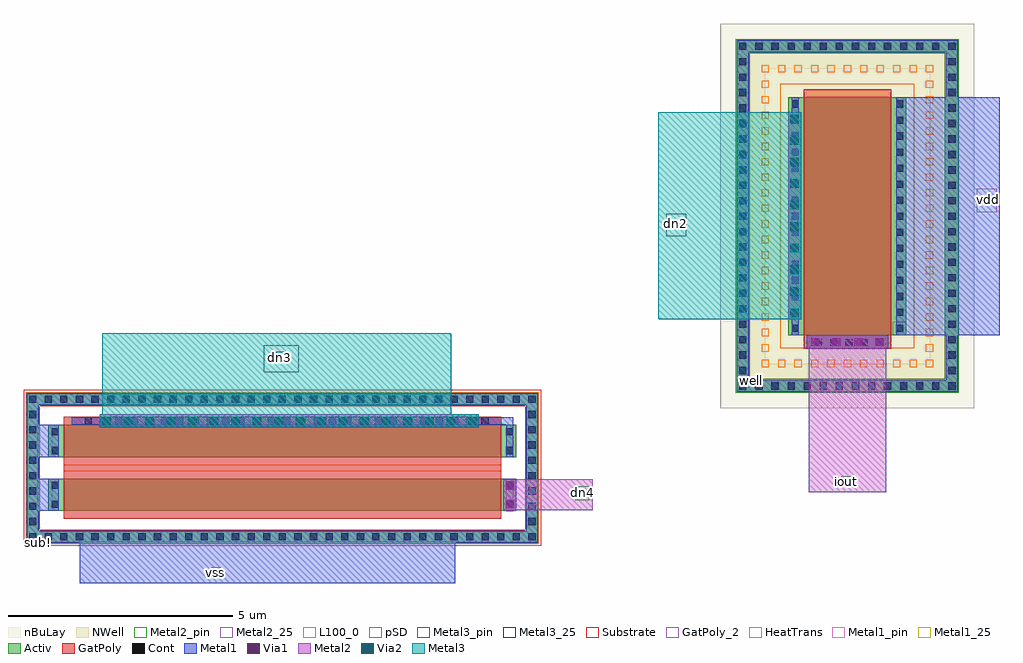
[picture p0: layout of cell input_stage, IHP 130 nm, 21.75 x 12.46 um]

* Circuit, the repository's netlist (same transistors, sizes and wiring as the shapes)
* Extracted by KLayout with SG13G2 LVS runset on : 27/03/2025 16:03

.SUBCKT input_stage vss dn4 dn3 vdd dn2 iout
M$1 vss dn3 dn4 \$1 sg13_lv_nmos L=9.75u W=0.72u AS=0.2448p AD=0.2448p PS=2.12u
+ PD=2.12u
M$2 vss dn3 dn3 \$1 sg13_lv_nmos L=9.75u W=0.72u AS=0.2448p AD=0.2448p PS=2.12u
+ PD=2.12u
M$3 dn2 iout vdd \$8 sg13_lv_pmos L=1.95u W=5.3u AS=1.802p AD=1.802p PS=11.28u
+ PD=11.28u
R$4 \$8 vdd ntap1 A=7.5826p P=48.92u
R$5 \$1 vss ptap1 A=7.0975p P=56.78u
.ENDS input_stage

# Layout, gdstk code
import gdstk
lib = gdstk.Library(unit=1e-6, precision=1e-09)
def R(c, l, rs):  # rectangles x0, y0, x1, y1
    for r in rs: c.add(gdstk.rectangle(r[:2], r[2:], *l))
def A(c, l, x, y, w, h, nx, ny, dx, dy):  # array of equal rectangles
    R(c, l, [(x+i*dx, y+j*dy, x+i*dx+w, y+j*dy+h) for i in range(nx) for j in range(ny)])
def P(c, l, *ps):  # polygons
    for p in ps: c.add(gdstk.Polygon(p, *l))
Activ = (1, 0)
GatPoly = (5, 0)
GatPoly_2 = (5, 2)
Cont = (6, 0)
Metal1 = (8, 0)
Metal1_pin = (8, 2)
Metal1_25 = (8, 25)
Metal2 = (10, 0)
Metal2_pin = (10, 2)
Metal2_25 = (10, 25)
pSD = (14, 0)
Via1 = (19, 0)
Via2 = (29, 0)
Metal3 = (30, 0)
Metal3_pin = (30, 2)
Metal3_25 = (30, 25)
NWell = (31, 0)
nBuLay = (32, 0)
Substrate = (40, 0)
HeatTrans = (51, 0)
L100_0 = (100, 0)

nmos_1 = lib.new_cell('nmos$1')

via_stack_1 = lib.new_cell('via_stack$1')
R(via_stack_1, Metal1, [(-4.225,-0.145,4.225,0.145)])
R(via_stack_1, Metal2, [(-4.225,-0.145,4.225,0.145)])
A(via_stack_1, Via1, -4.175, -0.095, 0.19, 0.19, 18, 1, 0.48, 0)
A(via_stack_1, Via2, -4.175, -0.095, 0.19, 0.19, 18, 1, 0.48, 0)
R(via_stack_1, Metal3, [(-4.225,-0.145,4.225,0.145)])

nmos = lib.new_cell('nmos')
R(nmos, Activ, [(0,0,0.3,0.3), (0,0,10.43,0.72), (10.13,0,10.43,0.3)])
R(nmos, GatPoly, [(0.34,-0.18,10.09,0.9)])
R(nmos, GatPoly_2, [(0.34,-0.18,10.09,0.9)])
R(nmos, Cont, [(0.07,0.07,0.23,0.23), (10.2,0.07,10.36,0.23), (0.07,0.49,0.23,0.65), (10.2,0.49,10.36,0.65)])
R(nmos, Metal1, [(0.07,0,0.23,0.72), (10.2,0,10.36,0.72)])
R(nmos, Metal1_pin, [(0.07,0,0.23,0.72), (10.2,0,10.36,0.72)])
R(nmos, HeatTrans, [(0.34,-0.18,10.09,0.9)])
nmos.add(gdstk.Label('nmos', (5.215,0.36), layer=63, texttype=0))
nmos.add(gdstk.Label('nmos', (5.215,0.36), layer=51, texttype=0))

via_stack_2 = lib.new_cell('via_stack$2')
R(via_stack_2, Metal1, [(-0.145,-0.35,0.145,0.35)])
R(via_stack_2, Metal2, [(-0.145,-0.35,0.145,0.35)])
R(via_stack_2, Via1, [(-0.095,-0.3,0.095,-0.11), (-0.095,0.11,0.095,0.3)])

nmos_cdns_736761753850 = lib.new_cell('nmos_CDNS_736761753850')

m2_m1_cdns_736761753850 = lib.new_cell('M2_M1_CDNS_736761753850')

m3_m2_cdns_736761753851 = lib.new_cell('M3_M2_CDNS_736761753851')

m1_gatpoly_cdns_73676175 = lib.new_cell('M1_GatPoly_CDNS_736761753852')

via_stack = lib.new_cell('via_stack')

pmos_1 = lib.new_cell('pmos$1')
R(pmos_1, Activ, [(0,0,0.3,0.3), (0,0,2.63,5.3), (2.33,0,2.63,0.3)])
R(pmos_1, GatPoly, [(0.34,-0.18,2.29,5.48), (0.34,-0.18,2.29,5.48)])
A(pmos_1, Cont, 0.07, 0.07, 0.16, 0.16, 1, 3, 0, 0.355)
A(pmos_1, Cont, 2.4, 0.07, 0.16, 0.16, 1, 3, 0, 0.355)
A(pmos_1, Cont, 0.07, 2.57, 0.16, 0.16, 1, 3, 0, 0.355)
A(pmos_1, Cont, 2.4, 2.57, 0.16, 0.16, 1, 3, 0, 0.355)
R(pmos_1, Cont, [(0.07,1.14,0.23,1.3), (2.4,1.14,2.56,1.3), (0.07,1.495,0.23,1.655), (2.4,1.495,2.56,1.655), (0.07,1.855,0.23,2.015), (2.4,1.855,2.56,2.015), (0.07,2.21,0.23,2.37), (2.4,2.21,2.56,2.37), (0.07,3.64,0.23,3.8), (2.4,3.64,2.56,3.8), (0.07,3.995,0.23,4.155), (2.4,3.995,2.56,4.155), (0.07,4.355,0.23,4.515), (2.4,4.355,2.56,4.515), (0.07,4.71,0.23,4.87), (2.4,4.71,2.56,4.87), (0.07,5.07,0.23,5.23), (2.4,5.07,2.56,5.23)])
R(pmos_1, Metal1, [(0.07,0,0.23,5.3), (0.07,0,0.23,5.3), (2.4,0,2.56,5.3), (2.4,0,2.56,5.3)])
R(pmos_1, pSD, [(-0.18,-0.3,2.81,5.6)])
R(pmos_1, NWell, [(-0.31,-0.31,2.94,5.61)])
R(pmos_1, Substrate, [(2.33,0,2.63,0.3)])
R(pmos_1, HeatTrans, [(0.34,-0.18,2.29,5.48)])
pmos_1.add(gdstk.Label('pmos', (1.315,2.65), layer=63, texttype=0))
pmos_1.add(gdstk.Label('pmos', (1.315,2.65), layer=51, texttype=0))

gring_3 = lib.new_cell('gring$3')
P(gring_3, Activ, [(0,0),(0,7.57),(0.31,7.57),(0.31,0.31),(4.66,0.31),(4.66,7.57),(0,7.57),(0,7.88),(4.97,7.88),(4.97,0)])
A(gring_3, Cont, 0.075, 0.075, 0.16, 0.16, 1, 3, 0, 0.345)
A(gring_3, Cont, 0.79, 0.075, 0.16, 0.16, 3, 2, 0.36, 7.57)
A(gring_3, Cont, 1.865, 0.075, 0.16, 0.16, 4, 2, 0.36, 7.57)
A(gring_3, Cont, 3.3, 0.075, 0.16, 0.16, 3, 2, 0.36, 7.57)
A(gring_3, Cont, 4.735, 0.075, 0.16, 0.16, 1, 3, 0, 0.345)
A(gring_3, Cont, 0.075, 1.105, 0.16, 0.16, 1, 6, 0, 0.345)
A(gring_3, Cont, 4.735, 1.105, 0.16, 0.16, 1, 6, 0, 0.345)
A(gring_3, Cont, 0.075, 3.17, 0.16, 0.16, 1, 5, 0, 0.345)
A(gring_3, Cont, 4.735, 3.17, 0.16, 0.16, 1, 5, 0, 0.345)
A(gring_3, Cont, 0.075, 4.89, 0.16, 0.16, 1, 6, 0, 0.345)
A(gring_3, Cont, 4.735, 4.89, 0.16, 0.16, 1, 6, 0, 0.345)
A(gring_3, Cont, 0.075, 6.955, 0.16, 0.16, 1, 3, 0, 0.345)
A(gring_3, Cont, 4.735, 6.955, 0.16, 0.16, 1, 3, 0, 0.345)
R(gring_3, Cont, [(0.075,0.075,0.235,0.235), (0.435,0.075,0.595,0.235), (4.375,0.075,4.535,0.235), (4.735,0.075,4.895,0.235), (0.075,7.645,0.235,7.805), (0.435,7.645,0.595,7.805), (4.375,7.645,4.535,7.805), (4.735,7.645,4.895,7.805)])
P(gring_3, Metal1, [(0.025,0.025),(0.025,7.595),(0.285,7.595),(0.285,0.285),(4.685,0.285),(4.685,7.595),(0.025,7.595),(0.025,7.855),(4.945,7.855),(4.945,0.025)])
R(gring_3, NWell, [(0,0,4.97,7.88)])

gring = lib.new_cell('gring')
P(gring, Activ, [(0.03,0.03),(0.03,3.095),(0.28,3.095),(0.28,0.28),(11.16,0.28),(11.16,3.095),(0.03,3.095),(0.03,3.345),(11.41,3.345),(11.41,0.03)])
A(gring, Cont, 0.075, 0.075, 0.16, 0.16, 1, 5, 0, 0.34)
A(gring, Cont, 2.855, 0.075, 0.16, 0.16, 3, 2, 0.35, 3.065)
A(gring, Cont, 5.29, 0.075, 0.16, 0.16, 3, 2, 0.35, 3.065)
A(gring, Cont, 7.725, 0.075, 0.16, 0.16, 3, 2, 0.35, 3.065)
A(gring, Cont, 11.205, 0.075, 0.16, 0.16, 1, 5, 0, 0.34)
A(gring, Cont, 0.075, 1.78, 0.16, 0.16, 1, 5, 0, 0.34)
A(gring, Cont, 11.205, 1.78, 0.16, 0.16, 1, 5, 0, 0.34)
R(gring, Cont, [(0.075,0.075,0.235,0.235), (0.425,0.075,0.585,0.235), (0.77,0.075,0.93,0.235), (1.12,0.075,1.28,0.235), (1.465,0.075,1.625,0.235), (1.815,0.075,1.975,0.235), (2.16,0.075,2.32,0.235), (2.51,0.075,2.67,0.235), (3.9,0.075,4.06,0.235), (4.25,0.075,4.41,0.235), (4.595,0.075,4.755,0.235), (4.945,0.075,5.105,0.235), (6.335,0.075,6.495,0.235), (6.685,0.075,6.845,0.235), (7.03,0.075,7.19,0.235), (7.38,0.075,7.54,0.235), (8.77,0.075,8.93,0.235), (9.12,0.075,9.28,0.235), (9.465,0.075,9.625,0.235), (9.815,0.075,9.975,0.235), (10.16,0.075,10.32,0.235), (10.51,0.075,10.67,0.235), (10.855,0.075,11.015,0.235), (11.205,0.075,11.365,0.235), (0.075,3.14,0.235,3.3), (0.425,3.14,0.585,3.3), (0.77,3.14,0.93,3.3), (1.12,3.14,1.28,3.3), (1.465,3.14,1.625,3.3), (1.815,3.14,1.975,3.3), (2.16,3.14,2.32,3.3), (2.51,3.14,2.67,3.3), (3.9,3.14,4.06,3.3), (4.25,3.14,4.41,3.3), (4.595,3.14,4.755,3.3), (4.945,3.14,5.105,3.3), (6.335,3.14,6.495,3.3), (6.685,3.14,6.845,3.3), (7.03,3.14,7.19,3.3), (7.38,3.14,7.54,3.3), (8.77,3.14,8.93,3.3), (9.12,3.14,9.28,3.3), (9.465,3.14,9.625,3.3), (9.815,3.14,9.975,3.3), (10.16,3.14,10.32,3.3), (10.51,3.14,10.67,3.3), (10.855,3.14,11.015,3.3), (11.205,3.14,11.365,3.3)])
P(gring, Metal1, [(0.025,0.025),(0.025,3.09),(0.285,3.09),(0.285,0.285),(11.155,0.285),(11.155,3.09),(0.025,3.09),(0.025,3.35),(11.415,3.35),(11.415,0.025)])
P(gring, pSD, [(0,0),(0,3.065),(0.31,3.065),(0.31,0.31),(11.13,0.31),(11.13,3.065),(0,3.065),(0,3.375),(11.44,3.375),(11.44,0)])

via_stack_3 = lib.new_cell('via_stack$3')
R(via_stack_3, Metal1, [(-0.865,-0.145,0.865,0.145)])
R(via_stack_3, Metal2, [(-0.865,-0.145,0.865,0.145)])
A(via_stack_3, Via1, -0.815, -0.095, 0.19, 0.19, 4, 1, 0.48, 0)

via_stack_4 = lib.new_cell('via_stack$4')
R(via_stack_4, Metal1, [(-0.145,-2.305,0.145,2.305)])
R(via_stack_4, Metal2, [(-0.145,-2.305,0.145,2.305)])
A(via_stack_4, Via1, -0.095, -2.255, 0.19, 0.19, 1, 10, 0, 0.48)
A(via_stack_4, Via2, -0.095, -2.255, 0.19, 0.19, 1, 10, 0, 0.48)
R(via_stack_4, Metal3, [(-0.145,-2.305,0.145,2.305)])

input_stage = lib.new_cell('input_stage')
R(input_stage, GatPoly, [(33.88,17.75,43.63,17.865), (50.375,20.46,52.325,20.59)])
A(input_stage, Cont, 34.35, 18.775, 0.16, 0.16, 27, 1, 0.34, 0)
A(input_stage, Cont, 50.625, 20.53, 0.16, 0.16, 5, 1, 0.34, 0)
R(input_stage, Metal1, [(34.24,15.24,42.605,16.145), (33.07,16.155,33.31,19.46), (33.31,16.155,44.2,16.395), (44.2,16.155,44.44,19.22), (43.74,16.845,43.9,16.85), (33.32,16.85,33.61,17.57), (33.32,18.045,33.61,18.765), (43.74,18.765,43.9,18.77), (34.06,18.77,43.45,18.94), (43.45,18.77,43.9,18.94), (33.31,19.22,44.44,19.46), (50.445,20.475,52.255,20.765), (52.595,20.77,53.55,26.07), (53.81,20.77,54.74,26.07)])
P(input_stage, Metal1, [(43.985,17.25),(43.985,17.25),(43.995,17.25),(43.995,17.25)])
R(input_stage, Metal1_pin, [(37.17,15.37,37.365,15.59), (54.235,23.51,54.68,24.025)])
R(input_stage, Metal1_25, [(37.22,15.415,37.305,15.54)])
R(input_stage, Metal2, [(43.97,16.86,45.675,17.56), (50.485,17.27,52.215,20.47)])
R(input_stage, Metal2_pin, [(45.28,17.085,45.595,17.4), (51.21,17.43,51.54,17.62)])
R(input_stage, Metal2_25, [(45.38,17.17,45.505,17.325)])
R(input_stage, Metal3, [(34.74,19,42.52,20.805), (47.135,21.12,50.03,25.73)])
R(input_stage, Metal3_pin, [(38.335,19.945,39.125,20.545), (47.31,22.975,47.755,23.475)])
R(input_stage, Metal3_25, [(38.615,20.215,38.86,20.395)])
R(input_stage, nBuLay, [(48.52,19.135,54.18,20.135), (53.18,19.135,54.18,26.705), (48.52,20.135,49.52,27.705), (49.52,26.705,54.18,27.705)])
R(input_stage, L100_0, [(33.109,16.194,33.271,16.356), (33.109,16.194,33.271,16.356), (33.459,16.194,33.621,16.356), (33.459,16.194,33.621,16.356), (33.804,16.194,33.966,16.356), (33.804,16.194,33.966,16.356), (34.154,16.194,34.316,16.356), (34.154,16.194,34.316,16.356), (34.499,16.194,34.661,16.356), (34.499,16.194,34.661,16.356), (34.849,16.194,35.011,16.356), (34.849,16.194,35.011,16.356), (35.194,16.194,35.356,16.356), (35.194,16.194,35.356,16.356), (35.544,16.194,35.706,16.356), (35.544,16.194,35.706,16.356), (35.889,16.194,36.051,16.356), (35.889,16.194,36.051,16.356), (36.239,16.194,36.401,16.356), (36.239,16.194,36.401,16.356), (36.589,16.194,36.751,16.356), (36.589,16.194,36.751,16.356), (36.934,16.194,37.096,16.356), (36.934,16.194,37.096,16.356), (37.284,16.194,37.446,16.356), (37.284,16.194,37.446,16.356), (37.629,16.194,37.791,16.356), (37.629,16.194,37.791,16.356), (37.979,16.194,38.141,16.356), (37.979,16.194,38.141,16.356), (38.324,16.194,38.486,16.356), (38.324,16.194,38.486,16.356), (38.674,16.194,38.836,16.356), (38.674,16.194,38.836,16.356), (39.024,16.194,39.186,16.356), (39.024,16.194,39.186,16.356), (39.369,16.194,39.531,16.356), (39.369,16.194,39.531,16.356), (39.719,16.194,39.881,16.356), (39.719,16.194,39.881,16.356), (40.064,16.194,40.226,16.356), (40.064,16.194,40.226,16.356), (40.414,16.194,40.576,16.356), (40.414,16.194,40.576,16.356), (40.759,16.194,40.921,16.356), (40.759,16.194,40.921,16.356), (41.109,16.194,41.271,16.356), (41.109,16.194,41.271,16.356), (41.459,16.194,41.621,16.356), (41.459,16.194,41.621,16.356), (41.804,16.194,41.966,16.356), (41.804,16.194,41.966,16.356), (42.154,16.194,42.316,16.356), (42.154,16.194,42.316,16.356), (42.499,16.194,42.661,16.356), (42.499,16.194,42.661,16.356), (42.849,16.194,43.011,16.356), (42.849,16.194,43.011,16.356), (43.194,16.194,43.356,16.356), (43.194,16.194,43.356,16.356), (43.544,16.194,43.706,16.356), (43.544,16.194,43.706,16.356), (43.889,16.194,44.051,16.356), (43.889,16.194,44.051,16.356), (44.239,16.194,44.401,16.356), (44.239,16.194,44.401,16.356), (33.109,16.534,33.271,16.696), (33.109,16.534,33.271,16.696), (44.239,16.534,44.401,16.696), (44.239,16.534,44.401,16.696), (33.109,16.874,33.271,17.036), (33.109,16.874,33.271,17.036), (44.239,16.874,44.401,17.036), (44.239,16.874,44.401,17.036), (33.609,16.919,33.771,17.081), (33.609,16.919,33.771,17.081), (43.739,16.919,43.901,17.081), (43.739,16.919,43.901,17.081), (33.109,17.214,33.271,17.376), (33.109,17.214,33.271,17.376), (44.239,17.214,44.401,17.376), (44.239,17.214,44.401,17.376), (33.609,17.339,33.771,17.501), (33.609,17.339,33.771,17.501), (43.739,17.339,43.901,17.501), (43.739,17.339,43.901,17.501), (33.109,17.554,33.271,17.716), (33.109,17.554,33.271,17.716), (44.239,17.554,44.401,17.716), (44.239,17.554,44.401,17.716), (33.109,17.899,33.271,18.061), (33.109,17.899,33.271,18.061), (44.239,17.899,44.401,18.061), (44.239,17.899,44.401,18.061), (33.609,18.114,33.771,18.276), (33.609,18.114,33.771,18.276), (43.739,18.114,43.901,18.276), (43.739,18.114,43.901,18.276), (33.109,18.239,33.271,18.401), (33.109,18.239,33.271,18.401), (44.239,18.239,44.401,18.401), (44.239,18.239,44.401,18.401), (33.609,18.534,33.771,18.696), (33.609,18.534,33.771,18.696), (43.739,18.534,43.901,18.696), (43.739,18.534,43.901,18.696), (33.109,18.579,33.271,18.741), (33.109,18.579,33.271,18.741), (44.239,18.579,44.401,18.741), (44.239,18.579,44.401,18.741), (33.109,18.919,33.271,19.081), (33.109,18.919,33.271,19.081), (44.239,18.919,44.401,19.081), (44.239,18.919,44.401,19.081), (33.109,19.259,33.271,19.421), (33.109,19.259,33.271,19.421), (33.459,19.259,33.621,19.421), (33.459,19.259,33.621,19.421), (33.804,19.259,33.966,19.421), (33.804,19.259,33.966,19.421), (34.154,19.259,34.316,19.421), (34.154,19.259,34.316,19.421), (34.499,19.259,34.661,19.421), (34.499,19.259,34.661,19.421), (34.849,19.259,35.011,19.421), (34.849,19.259,35.011,19.421), (35.194,19.259,35.356,19.421), (35.194,19.259,35.356,19.421), (35.544,19.259,35.706,19.421), (35.544,19.259,35.706,19.421), (35.889,19.259,36.051,19.421), (35.889,19.259,36.051,19.421), (36.239,19.259,36.401,19.421), (36.239,19.259,36.401,19.421), (36.589,19.259,36.751,19.421), (36.589,19.259,36.751,19.421), (36.934,19.259,37.096,19.421), (36.934,19.259,37.096,19.421), (37.284,19.259,37.446,19.421), (37.284,19.259,37.446,19.421), (37.629,19.259,37.791,19.421), (37.629,19.259,37.791,19.421), (37.979,19.259,38.141,19.421), (37.979,19.259,38.141,19.421), (38.324,19.259,38.486,19.421), (38.324,19.259,38.486,19.421), (38.674,19.259,38.836,19.421), (38.674,19.259,38.836,19.421), (39.024,19.259,39.186,19.421), (39.024,19.259,39.186,19.421), (39.369,19.259,39.531,19.421), (39.369,19.259,39.531,19.421), (39.719,19.259,39.881,19.421), (39.719,19.259,39.881,19.421), (40.064,19.259,40.226,19.421), (40.064,19.259,40.226,19.421), (40.414,19.259,40.576,19.421), (40.414,19.259,40.576,19.421), (40.759,19.259,40.921,19.421), (40.759,19.259,40.921,19.421), (41.109,19.259,41.271,19.421), (41.109,19.259,41.271,19.421), (41.459,19.259,41.621,19.421), (41.459,19.259,41.621,19.421), (41.804,19.259,41.966,19.421), (41.804,19.259,41.966,19.421), (42.154,19.259,42.316,19.421), (42.154,19.259,42.316,19.421), (42.499,19.259,42.661,19.421), (42.499,19.259,42.661,19.421), (42.849,19.259,43.011,19.421), (42.849,19.259,43.011,19.421), (43.194,19.259,43.356,19.421), (43.194,19.259,43.356,19.421), (43.544,19.259,43.706,19.421), (43.544,19.259,43.706,19.421), (43.889,19.259,44.051,19.421), (43.889,19.259,44.051,19.421), (44.239,19.259,44.401,19.421), (44.239,19.259,44.401,19.421), (49.439,20.054,49.601,20.216), (49.439,20.054,49.601,20.216), (49.804,20.054,49.966,20.216), (49.804,20.054,49.966,20.216), (50.169,20.054,50.331,20.216), (50.169,20.054,50.331,20.216), (50.539,20.054,50.701,20.216), (50.539,20.054,50.701,20.216), (50.904,20.054,51.066,20.216), (50.904,20.054,51.066,20.216), (51.269,20.054,51.431,20.216), (51.269,20.054,51.431,20.216), (51.634,20.054,51.796,20.216), (51.634,20.054,51.796,20.216), (51.999,20.054,52.161,20.216), (51.999,20.054,52.161,20.216), (52.369,20.054,52.531,20.216), (52.369,20.054,52.531,20.216), (52.734,20.054,52.896,20.216), (52.734,20.054,52.896,20.216), (53.099,20.054,53.261,20.216), (53.099,20.054,53.261,20.216), (49.439,20.399,49.601,20.561), (49.439,20.399,49.601,20.561), (53.099,20.399,53.261,20.561), (53.099,20.399,53.261,20.561), (49.439,20.744,49.601,20.906), (49.439,20.744,49.601,20.906), (53.099,20.744,53.261,20.906), (53.099,20.744,53.261,20.906), (50.104,20.839,50.266,21.001), (50.104,20.839,50.266,21.001), (52.434,20.839,52.596,21.001), (52.434,20.839,52.596,21.001), (49.439,21.089,49.601,21.251), (49.439,21.089,49.601,21.251), (53.099,21.089,53.261,21.251), (53.099,21.089,53.261,21.251), (50.104,21.194,50.266,21.356), (50.104,21.194,50.266,21.356), (52.434,21.194,52.596,21.356), (52.434,21.194,52.596,21.356), (49.439,21.439,49.601,21.601), (49.439,21.439,49.601,21.601), (53.099,21.439,53.261,21.601), (53.099,21.439,53.261,21.601), (50.104,21.549,50.266,21.711), (50.104,21.549,50.266,21.711), (52.434,21.549,52.596,21.711), (52.434,21.549,52.596,21.711), (49.439,21.784,49.601,21.946), (49.439,21.784,49.601,21.946), (53.099,21.784,53.261,21.946), (53.099,21.784,53.261,21.946), (50.104,21.909,50.266,22.071), (50.104,21.909,50.266,22.071), (52.434,21.909,52.596,22.071), (52.434,21.909,52.596,22.071), (49.439,22.129,49.601,22.291), (49.439,22.129,49.601,22.291), (53.099,22.129,53.261,22.291), (53.099,22.129,53.261,22.291), (50.104,22.264,50.266,22.426), (50.104,22.264,50.266,22.426), (52.434,22.264,52.596,22.426), (52.434,22.264,52.596,22.426), (49.439,22.474,49.601,22.636), (49.439,22.474,49.601,22.636), (53.099,22.474,53.261,22.636), (53.099,22.474,53.261,22.636), (50.104,22.624,50.266,22.786), (50.104,22.624,50.266,22.786), (52.434,22.624,52.596,22.786), (52.434,22.624,52.596,22.786), (49.439,22.819,49.601,22.981), (49.439,22.819,49.601,22.981), (53.099,22.819,53.261,22.981), (53.099,22.819,53.261,22.981), (50.104,22.979,50.266,23.141), (50.104,22.979,50.266,23.141), (52.434,22.979,52.596,23.141), (52.434,22.979,52.596,23.141), (49.439,23.164,49.601,23.326), (49.439,23.164,49.601,23.326), (53.099,23.164,53.261,23.326), (53.099,23.164,53.261,23.326), (50.104,23.339,50.266,23.501), (50.104,23.339,50.266,23.501), (52.434,23.339,52.596,23.501), (52.434,23.339,52.596,23.501), (49.439,23.514,49.601,23.676), (49.439,23.514,49.601,23.676), (53.099,23.514,53.261,23.676), (53.099,23.514,53.261,23.676), (50.104,23.694,50.266,23.856), (50.104,23.694,50.266,23.856), (52.434,23.694,52.596,23.856), (52.434,23.694,52.596,23.856), (49.439,23.859,49.601,24.021), (49.439,23.859,49.601,24.021), (53.099,23.859,53.261,24.021), (53.099,23.859,53.261,24.021), (50.104,24.049,50.266,24.211), (50.104,24.049,50.266,24.211), (52.434,24.049,52.596,24.211), (52.434,24.049,52.596,24.211), (49.439,24.204,49.601,24.366), (49.439,24.204,49.601,24.366), (53.099,24.204,53.261,24.366), (53.099,24.204,53.261,24.366), (50.104,24.409,50.266,24.571), (50.104,24.409,50.266,24.571), (52.434,24.409,52.596,24.571), (52.434,24.409,52.596,24.571), (49.439,24.549,49.601,24.711), (49.439,24.549,49.601,24.711), (53.099,24.549,53.261,24.711), (53.099,24.549,53.261,24.711), (50.104,24.764,50.266,24.926), (50.104,24.764,50.266,24.926), (52.434,24.764,52.596,24.926), (52.434,24.764,52.596,24.926), (49.439,24.894,49.601,25.056), (49.439,24.894,49.601,25.056), (53.099,24.894,53.261,25.056), (53.099,24.894,53.261,25.056), (50.104,25.124,50.266,25.286), (50.104,25.124,50.266,25.286), (52.434,25.124,52.596,25.286), (52.434,25.124,52.596,25.286), (49.439,25.239,49.601,25.401), (49.439,25.239,49.601,25.401), (53.099,25.239,53.261,25.401), (53.099,25.239,53.261,25.401), (50.104,25.479,50.266,25.641), (50.104,25.479,50.266,25.641), (52.434,25.479,52.596,25.641), (52.434,25.479,52.596,25.641), (49.439,25.589,49.601,25.751), (49.439,25.589,49.601,25.751), (53.099,25.589,53.261,25.751), (53.099,25.589,53.261,25.751), (50.104,25.839,50.266,26.001), (50.104,25.839,50.266,26.001), (52.434,25.839,52.596,26.001), (52.434,25.839,52.596,26.001), (49.439,25.934,49.601,26.096), (49.439,25.934,49.601,26.096), (53.099,25.934,53.261,26.096), (53.099,25.934,53.261,26.096), (49.439,26.279,49.601,26.441), (49.439,26.279,49.601,26.441), (53.099,26.279,53.261,26.441), (53.099,26.279,53.261,26.441), (49.439,26.624,49.601,26.786), (49.439,26.624,49.601,26.786), (49.804,26.624,49.966,26.786), (49.804,26.624,49.966,26.786), (50.169,26.624,50.331,26.786), (50.169,26.624,50.331,26.786), (50.539,26.624,50.701,26.786), (50.539,26.624,50.701,26.786), (50.904,26.624,51.066,26.786), (50.904,26.624,51.066,26.786), (51.269,26.624,51.431,26.786), (51.269,26.624,51.431,26.786), (51.634,26.624,51.796,26.786), (51.634,26.624,51.796,26.786), (51.999,26.624,52.161,26.786), (51.999,26.624,52.161,26.786), (52.369,26.624,52.531,26.786), (52.369,26.624,52.531,26.786), (52.734,26.624,52.896,26.786), (52.734,26.624,52.896,26.786), (53.099,26.624,53.261,26.786), (53.099,26.624,53.261,26.786)])
input_stage.add(gdstk.FlexPath([(38.8,19.365),(44.345,19.365),(44.345,16.25),(33.165,16.25),(33.165,19.365),(38.8,19.365)], 0.36, ends="flush", simple_path=True, layer=40, datatype=0))  # Substrate
input_stage.add(gdstk.Reference(nmos_1, (-0.025,-0.075)))
input_stage.add(gdstk.Reference(via_stack_1, (38.91,18.855)))
input_stage.add(gdstk.Reference(nmos, (33.54,16.85)))
input_stage.add(gdstk.Reference(nmos, (33.54,18.045)))
input_stage.add(gdstk.Reference(via_stack_2, (43.825,17.21)))
input_stage.add(gdstk.Reference(nmos_cdns_736761753850, (0.5,-5.86)))
input_stage.add(gdstk.Reference(nmos_cdns_736761753850, (0.5,-4.66)))
input_stage.add(gdstk.Reference(m2_m1_cdns_736761753850, (5.715,-3.85)))
input_stage.add(gdstk.Reference(m3_m2_cdns_736761753851, (5.715,-3.85)))
input_stage.add(gdstk.Reference(m1_gatpoly_cdns_73676175, (5.72,-4.92)))
input_stage.add(gdstk.Reference(via_stack, (5.555,-4.93)))
input_stage.add(gdstk.Reference(pmos_1, (50.035,20.77)))
input_stage.add(gdstk.Reference(gring_3, (48.865,19.48)))
input_stage.add(gdstk.Reference(gring, (33.035,16.12)))
input_stage.add(gdstk.Reference(via_stack_3, (51.35,20.615)))
input_stage.add(gdstk.Reference(via_stack_4, (50.175,23.425)))
input_stage.add(gdstk.Label('well', (49.22,19.765), layer=63, texttype=0))
input_stage.add(gdstk.Label('sub!', (33.315,16.15), layer=63, texttype=0))
input_stage.add(gdstk.Label('vdd', (54.49,23.78), layer=8, texttype=25))
input_stage.add(gdstk.Label('vss', (37.265,15.47), layer=8, texttype=25))
input_stage.add(gdstk.Label('dn2', (47.515,23.25), layer=30, texttype=25))
input_stage.add(gdstk.Label('dn3', (38.685,20.265), layer=30, texttype=25))
input_stage.add(gdstk.Label('iout', (51.32,17.515), layer=10, texttype=25))
input_stage.add(gdstk.Label('dn4', (45.435,17.255), layer=10, texttype=25))

lib.write_gds('input_stage.gds')
